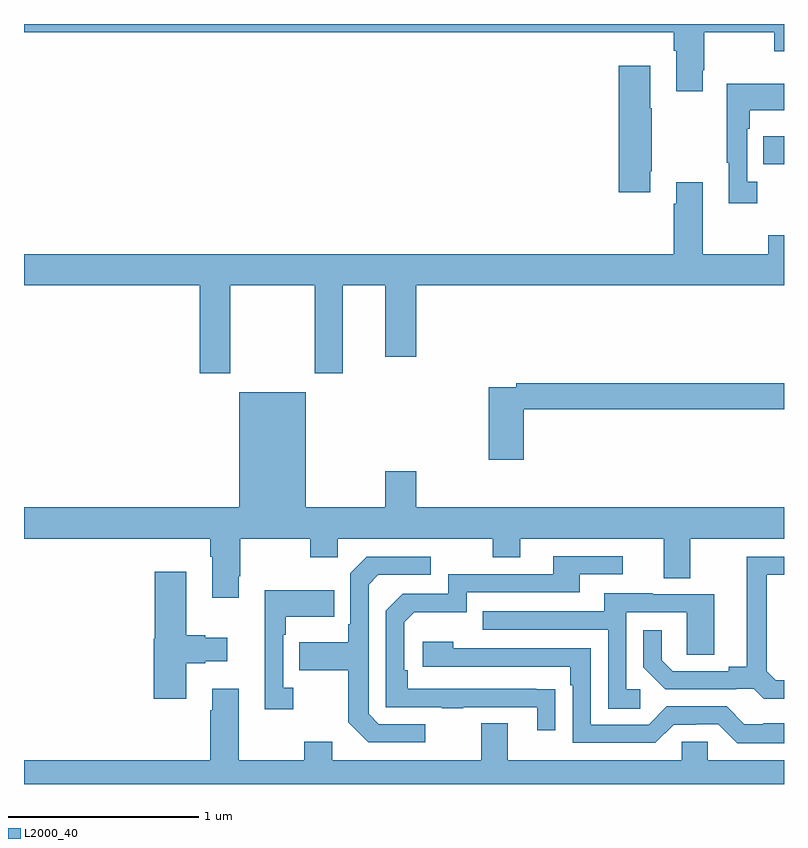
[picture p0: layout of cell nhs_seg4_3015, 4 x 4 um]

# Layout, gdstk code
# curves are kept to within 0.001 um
import gdstk
lib = gdstk.Library(unit=1e-6, precision=1e-09)
def R(c, l, rs):  # rectangles x0, y0, x1, y1
    for r in rs: c.add(gdstk.rectangle(r[:2], r[2:], *l))
def P(c, l, *ps):  # polygons
    for p in ps: c.add(gdstk.Polygon(p, *l))
L2000_40 = (2000, 40)

nhs_seg4_3015 = lib.new_cell('nhs_seg4_3015')
R(nhs_seg4_3015, L2000_40, [(274.891,760.162,275,760.309)])
P(nhs_seg4_3015, L2000_40, [(274.573,760.657),(274.581,760.657),(274.581,760.856),(274.948,760.856),(274.948,760.757),(275,760.757),(275,760.9),(271,760.9),(271,760.856),(274.421,760.856),(274.421,760.76),(274.433,760.76),(274.433,760.545),(274.573,760.545)],
  [(274.297,760.126),(274.305,760.126),(274.305,760.457),(274.297,760.457),(274.297,760.681),(274.13,760.681),(274.13,760.014),(274.297,760.014)],
  [(274.858,760.07),(274.806,760.07),(274.806,760.349),(274.819,760.349),(274.819,760.445),(275,760.445),(275,760.585),(274.698,760.585),(274.698,760.169),(274.709,760.169),(274.709,759.957),(274.858,759.957)],
  [(272.085,759.524),(272.53,759.524),(272.53,759.063),(272.677,759.063),(272.677,759.524),(272.9,759.524),(272.9,759.15),(273.064,759.15),(273.064,759.524),(275,759.524),(275,759.787),(274.918,759.787),(274.918,759.688),(274.573,759.688),(274.573,760.066),(274.433,760.066),(274.433,759.953),(274.421,759.953),(274.421,759.688),(271,759.688),(271,759.524),(271.925,759.524),(271.925,759.063),(272.085,759.063)],
  [(273.629,758.872),(275,758.872),(275,759.008),(273.592,759.008),(273.592,758.988),(273.446,758.988),(273.446,758.607),(273.629,758.607)],
  [(272.131,757.993),(272.139,757.993),(272.139,758.192),(272.506,758.192),(272.506,758.093),(272.652,758.093),(272.652,758.192),(273.466,758.192),(273.466,758.093),(273.613,758.093),(273.613,758.192),(274.367,758.192),(274.367,757.984),(274.507,757.984),(274.507,758.192),(275,758.192),(275,758.356),(273.064,758.356),(273.064,758.545),(272.9,758.545),(272.9,758.356),(272.482,758.356),(272.482,758.962),(272.132,758.962),(272.132,758.356),(271,758.356),(271,758.192),(271.979,758.192),(271.979,758.096),(271.991,758.096),(271.991,757.881),(272.131,757.881)],
  [(273.797,757.4),(273.02,757.401),(273.02,757.498),(273,757.498),(273,757.752),(273.053,757.805),(273.33,757.805),(273.33,757.908),(273.925,757.908),(273.925,758.004),(274.15,758.004),(274.15,758.1),(273.785,758.1),(273.785,758.004),(273.234,758.004),(273.234,757.902),(272.994,757.902),(272.904,757.812),(272.904,757.305),(273.199,757.305),(273.199,757.3),(273.311,757.3),(273.311,757.305),(273.701,757.305),(273.701,757.182),(273.797,757.182)],
  [(273.112,757.215),(272.868,757.215),(272.814,757.269),(272.814,757.95),(272.865,758.001),(273.142,758.001),(273.142,758.097),(272.805,758.097),(272.718,758.01),(272.718,757.741),(272.706,757.741),(272.706,757.645),(272.449,757.645),(272.449,757.498),(272.706,757.498),(272.706,757.225),(272.811,757.119),(273.112,757.119)],
  [(275,757.446),(274.956,757.446),(274.909,757.493),(274.909,758.001),(275,758.001),(275,758.097),(274.805,758.097),(274.805,757.517),(274.709,757.517),(274.709,757.494),(274.414,757.494),(274.357,757.551),(274.357,757.708),(274.26,757.708),(274.26,757.514),(274.376,757.398),(274.748,757.398),(274.748,757.401),(274.842,757.401),(274.894,757.349),(275,757.349)],
  [(271.855,757.535),(271.955,757.535),(271.955,757.547),(272.071,757.547),(272.071,757.669),(271.955,757.669),(271.955,757.682),(271.855,757.682),(271.855,758.017),(271.688,758.017),(271.688,757.665),(271.682,757.665),(271.682,757.35),(271.855,757.35)],
  [(272.416,757.406),(272.364,757.406),(272.364,757.685),(272.377,757.685),(272.377,757.781),(272.633,757.781),(272.633,757.921),(272.267,757.921),(272.267,757.293),(272.416,757.293)],
  [(274.243,757.398),(274.17,757.398),(274.17,757.803),(274.488,757.803),(274.488,757.579),(274.633,757.579),(274.633,757.899),(274.309,757.899),(274.309,757.903),(274.055,757.903),(274.055,757.809),(273.415,757.809),(273.415,757.713),(274.074,757.713),(274.074,757.297),(274.243,757.297)],
  [(275,757.219),(274.891,757.219),(274.891,757.215),(274.791,757.215),(274.698,757.308),(274.383,757.308),(274.287,757.212),(273.984,757.212),(273.984,757.614),(273.26,757.614),(273.26,757.648),(273.099,757.648),(273.099,757.518),(273.875,757.518),(273.875,757.421),(273.888,757.421),(273.888,757.116),(274.323,757.116),(274.419,757.212),(274.538,757.212),(274.538,757.215),(274.653,757.215),(274.753,757.115),(275,757.115)],
  [(275,757.024),(274.599,757.024),(274.599,757.122),(274.461,757.122),(274.461,757.024),(273.547,757.024),(273.547,757.219),(273.407,757.219),(273.407,757.024),(272.623,757.024),(272.623,757.123),(272.476,757.123),(272.476,757.024),(272.131,757.024),(272.131,757.402),(271.991,757.402),(271.991,757.289),(271.979,757.289),(271.979,757.024),(271,757.024),(271,756.9),(275,756.9)])

lib.write_gds('nhs_seg4_3015.gds')
